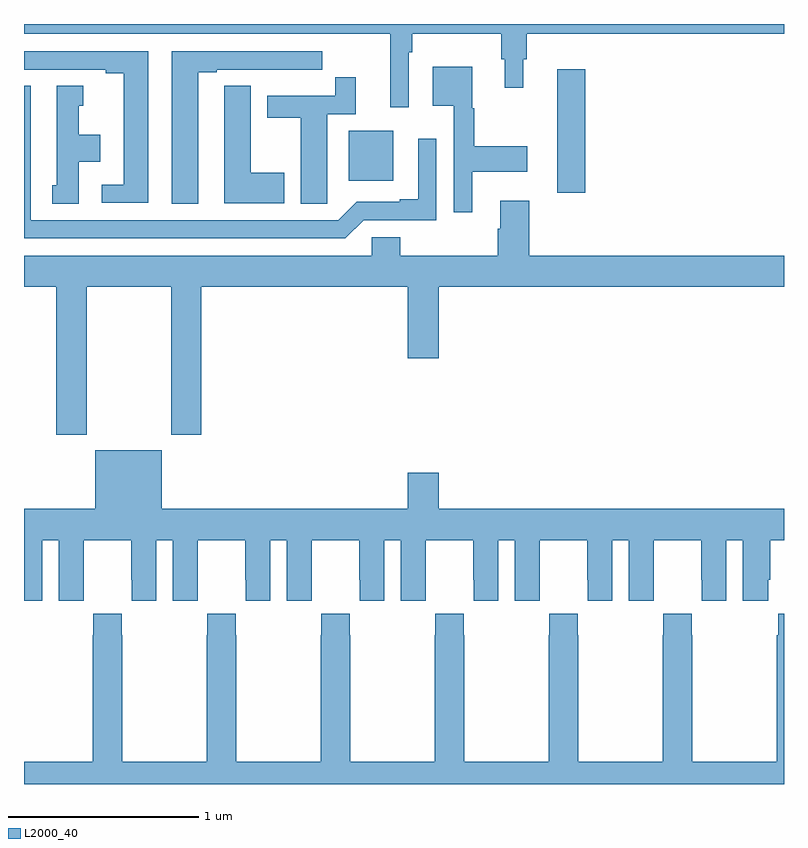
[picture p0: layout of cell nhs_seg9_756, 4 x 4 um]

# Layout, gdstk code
import gdstk
lib = gdstk.Library(unit=1e-6, precision=1e-09)
def R(c, l, rs):  # rectangles x0, y0, x1, y1
    for r in rs: c.add(gdstk.rectangle(r[:2], r[2:], *l))
def P(c, l, *ps):  # polygons
    for p in ps: c.add(gdstk.Polygon(p, *l))
L2000_40 = (2000, 40)

nhs_seg9_756 = lib.new_cell('nhs_seg9_756')
R(nhs_seg9_756, L2000_40, [(153.806,1167.612,153.953,1168.261), (152.708,1167.674,152.944,1167.937)])
P(nhs_seg9_756, L2000_40, [(153.024,1168.352),(153.044,1168.352),(153.044,1168.448),(153.511,1168.448),(153.511,1168.314),(153.53,1168.314),(153.53,1168.164),(153.628,1168.164),(153.628,1168.314),(153.647,1168.314),(153.647,1168.448),(155,1168.448),(155,1168.5),(151,1168.5),(151,1168.448),(152.927,1168.448),(152.927,1168.062),(153.024,1168.062)],
  [(151.918,1168.245),(152.014,1168.245),(152.014,1168.26),(152.29,1168.26),(152.29,1168.259),(152.456,1168.259),(152.456,1168.26),(152.569,1168.26),(152.569,1168.356),(151.778,1168.356),(151.778,1167.553),(151.918,1167.553)],
  [(151.654,1168.356),(151,1168.356),(151,1168.26),(151.43,1168.26),(151.43,1168.24),(151.526,1168.24),(151.526,1167.654),(151.41,1167.654),(151.41,1167.558),(151.654,1167.558)],
  [(153.358,1167.722),(153.649,1167.722),(153.649,1167.857),(153.37,1167.857),(153.37,1168.056),(153.358,1168.056),(153.358,1168.276),(153.152,1168.276),(153.152,1168.07),(153.261,1168.07),(153.261,1167.51),(153.358,1167.51)],
  [(152.595,1167.664),(152.596,1167.664),(152.596,1168.026),(152.747,1168.026),(152.747,1168.219),(152.638,1168.219),(152.638,1168.122),(152.279,1168.122),(152.279,1168.006),(152.456,1168.006),(152.456,1167.553),(152.595,1167.553)],
  [(152.371,1167.717),(152.194,1167.717),(152.194,1168.175),(152.055,1168.175),(152.055,1168.067),(152.054,1168.067),(152.054,1167.557),(152.371,1167.557)],
  [(151.288,1167.776),(151.402,1167.776),(151.402,1167.916),(151.288,1167.916),(151.288,1168.071),(151.312,1168.071),(151.312,1168.174),(151.172,1168.174),(151.172,1167.651),(151.148,1167.651),(151.148,1167.553),(151.288,1167.553)],
  [(152.787,1167.468),(153.171,1167.468),(153.171,1167.895),(153.074,1167.895),(153.074,1167.577),(152.978,1167.577),(152.978,1167.564),(152.751,1167.564),(152.655,1167.468),(151.036,1167.468),(151.036,1168.174),(151,1168.174),(151,1167.372),(152.691,1167.372)],
  [(151.329,1167.116),(151.774,1167.116),(151.774,1166.337),(151.934,1166.337),(151.934,1167.116),(153.02,1167.116),(153.02,1166.742),(153.184,1166.742),(153.184,1167.116),(155,1167.116),(155,1167.28),(153.659,1167.28),(153.659,1167.571),(153.506,1167.571),(153.506,1167.422),(153.494,1167.422),(153.494,1167.28),(152.981,1167.28),(152.981,1167.378),(152.829,1167.378),(152.829,1167.28),(151,1167.28),(151,1167.116),(151.169,1167.116),(151.169,1166.337),(151.329,1166.337)],
  [(151,1165.464),(151.096,1165.464),(151.096,1165.784),(151.184,1165.784),(151.184,1165.464),(151.314,1165.464),(151.314,1165.576),(151.315,1165.576),(151.315,1165.784),(151.565,1165.784),(151.565,1165.576),(151.566,1165.576),(151.566,1165.464),(151.696,1165.464),(151.696,1165.784),(151.784,1165.784),(151.784,1165.464),(151.914,1165.464),(151.914,1165.576),(151.915,1165.576),(151.915,1165.784),(152.165,1165.784),(152.165,1165.576),(152.166,1165.576),(152.166,1165.464),(152.296,1165.464),(152.296,1165.784),(152.384,1165.784),(152.384,1165.464),(152.514,1165.464),(152.514,1165.576),(152.515,1165.576),(152.515,1165.784),(152.765,1165.784),(152.765,1165.576),(152.766,1165.576),(152.766,1165.464),(152.896,1165.464),(152.896,1165.784),(152.984,1165.784),(152.984,1165.464),(153.114,1165.464),(153.114,1165.576),(153.115,1165.576),(153.115,1165.784),(153.365,1165.784),(153.365,1165.576),(153.366,1165.576),(153.366,1165.464),(153.496,1165.464),(153.496,1165.784),(153.584,1165.784),(153.584,1165.464),(153.714,1165.464),(153.714,1165.576),(153.715,1165.576),(153.715,1165.784),(153.965,1165.784),(153.965,1165.576),(153.966,1165.576),(153.966,1165.464),(154.096,1165.464),(154.096,1165.784),(154.184,1165.784),(154.184,1165.464),(154.314,1165.464),(154.314,1165.576),(154.315,1165.576),(154.315,1165.784),(154.565,1165.784),(154.565,1165.576),(154.566,1165.576),(154.566,1165.464),(154.696,1165.464),(154.696,1165.784),(154.784,1165.784),(154.784,1165.464),(154.918,1165.464),(154.918,1165.576),(154.928,1165.576),(154.928,1165.784),(155,1165.784),(155,1165.948),(153.184,1165.948),(153.184,1166.137),(153.02,1166.137),(153.02,1165.948),(151.726,1165.948),(151.726,1166.257),(151.376,1166.257),(151.376,1165.948),(151,1165.948)],
  [(155,1165.396),(154.969,1165.396),(154.969,1165.283),(154.963,1165.283),(154.963,1164.616),(154.518,1164.616),(154.518,1165.283),(154.515,1165.283),(154.515,1165.396),(154.365,1165.396),(154.365,1165.283),(154.363,1165.283),(154.363,1164.616),(153.918,1164.616),(153.918,1165.283),(153.915,1165.283),(153.915,1165.396),(153.765,1165.396),(153.765,1165.283),(153.763,1165.283),(153.763,1164.616),(153.318,1164.616),(153.318,1165.283),(153.315,1165.283),(153.315,1165.396),(153.165,1165.396),(153.165,1165.283),(153.163,1165.283),(153.163,1164.616),(152.718,1164.616),(152.718,1165.283),(152.715,1165.283),(152.715,1165.396),(152.565,1165.396),(152.565,1165.283),(152.563,1165.283),(152.563,1164.616),(152.118,1164.616),(152.118,1165.283),(152.115,1165.283),(152.115,1165.396),(151.965,1165.396),(151.965,1165.283),(151.963,1165.283),(151.963,1164.616),(151.518,1164.616),(151.518,1165.283),(151.515,1165.283),(151.515,1165.396),(151.365,1165.396),(151.365,1165.283),(151.363,1165.283),(151.363,1164.616),(151,1164.616),(151,1164.5),(155,1164.5)])

lib.write_gds('nhs_seg9_756.gds')
